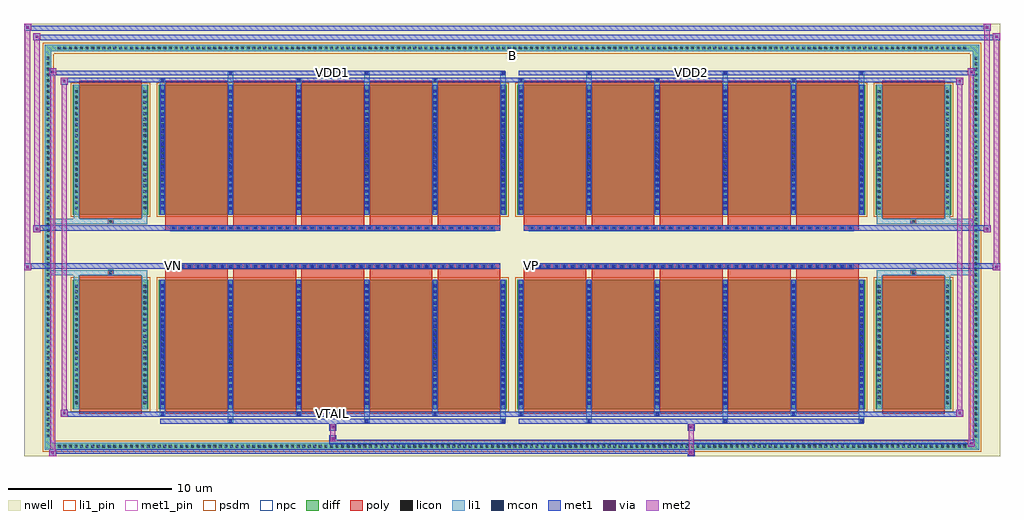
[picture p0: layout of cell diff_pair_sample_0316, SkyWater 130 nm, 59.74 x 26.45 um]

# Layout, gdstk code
import gdstk
lib = gdstk.Library(unit=1e-6, precision=5e-09)
def R(c, l, rs):  # rectangles x0, y0, x1, y1
    for r in rs: c.add(gdstk.rectangle(r[:2], r[2:], *l))
def A(c, l, x, y, w, h, nx, ny, dx, dy):  # array of equal rectangles
    R(c, l, [(x+i*dx, y+j*dy, x+i*dx+w, y+j*dy+h) for i in range(nx) for j in range(ny)])
def P(c, l, *ps):  # polygons
    for p in ps: c.add(gdstk.Polygon(p, *l))
nwell = (64, 20)
diff = (65, 20)
poly = (66, 20)
licon = (66, 44)
li1_pin = (67, 16)
li1 = (67, 20)
mcon = (67, 44)
met1_pin = (68, 16)
met1 = (68, 20)
via = (68, 44)
met2 = (69, 20)
psdm = (94, 20)
npc = (95, 20)

diff_pair_sample_0316 = lib.new_cell('diff_pair_sample_0316')
R(diff_pair_sample_0316, nwell, [(-29.87,-12.79,29.87,13.66), (-27.19,-10.98,-0.01,-0.8), (0.01,-10.98,27.19,-0.8), (-27.19,0.8,-0.01,10.98), (0.01,0.8,27.19,10.98)])
A(diff_pair_sample_0316, diff, -27.915, -12.39, 0.41, 0.41, 164, 2, 0.34, 24.37)
A(diff_pair_sample_0316, diff, -28.6, -11.765, 0.41, 0.41, 1, 69, 0, 0.34)
A(diff_pair_sample_0316, diff, 28.19, -11.765, 0.41, 0.41, 1, 69, 0, 0.34)
R(diff_pair_sample_0316, diff, [(-27.915,-12.39,27.915,-11.98), (-28.6,-11.765,-28.19,11.765), (28.19,-11.765,28.6,11.765), (-26.88,-9.935,-22.26,-1.985), (-21.62,-9.935,-0.32,-1.985), (0.32,-9.935,21.62,-1.985), (22.26,-9.935,26.88,-1.985), (-26.88,1.985,-22.26,9.935), (-21.62,1.985,-0.32,9.935), (0.32,1.985,21.62,9.935), (22.26,1.985,26.88,9.935), (-27.915,11.98,27.915,12.39)])
P(diff_pair_sample_0316, diff, [(28.6,12.39),(-28.6,12.39),(-28.6,-11.98),(-28.19,-11.98),(-28.19,11.98),(28.19,11.98),(28.19,-11.98),(-28.19,-11.98),(-28.6,-11.98),(-28.6,-12.39),(28.6,-12.39)])
A(diff_pair_sample_0316, poly, -21.23, -10.185, 3.84, 8.45, 5, 2, 4.17, 11.92)
A(diff_pair_sample_0316, poly, 0.71, -10.185, 3.84, 8.45, 5, 2, 4.17, 11.92)
A(diff_pair_sample_0316, poly, -21.23, -1.735, 3.84, 0.405, 5, 2, 4.17, 3.065)
A(diff_pair_sample_0316, poly, 0.71, -1.735, 3.84, 0.405, 5, 2, 4.17, 3.065)
A(diff_pair_sample_0316, poly, -20.885, -1.33, 0.33, 0.33, 40, 2, 0.5, 2.33)
A(diff_pair_sample_0316, poly, 1.055, -1.33, 0.33, 0.33, 40, 2, 0.5, 2.33)
R(diff_pair_sample_0316, poly, [(-26.49,-10.185,-22.65,-1.735), (22.65,-10.185,26.49,-1.735), (-24.735,-1.735,-24.405,-1.405), (-24.735,-1.735,-24.405,-1.405), (24.405,-1.735,24.735,-1.405), (24.405,-1.735,24.735,-1.405), (-21.23,-1.33,-0.71,-1), (0.71,-1.33,21.23,-1), (-21.23,1,-0.71,1.33), (0.71,1,21.23,1.33), (-24.735,1.405,-24.405,1.735), (-24.735,1.405,-24.405,1.735), (24.405,1.405,24.735,1.735), (24.405,1.405,24.735,1.735), (-26.49,1.735,-22.65,10.185), (22.65,1.735,26.49,10.185)])
A(diff_pair_sample_0316, licon, -27.795, -12.27, 0.17, 0.17, 164, 2, 0.34, 24.37)
A(diff_pair_sample_0316, licon, -28.48, -11.645, 0.17, 0.17, 1, 69, 0, 0.34)
A(diff_pair_sample_0316, licon, 28.31, -11.645, 0.17, 0.17, 1, 69, 0, 0.34)
A(diff_pair_sample_0316, licon, -26.74, -9.615, 0.17, 0.17, 1, 22, 0, 0.34)
A(diff_pair_sample_0316, licon, -22.57, -9.615, 0.17, 0.17, 1, 22, 0, 0.34)
A(diff_pair_sample_0316, licon, -21.48, -9.615, 0.17, 0.17, 6, 22, 4.17, 0.34)
A(diff_pair_sample_0316, licon, 0.46, -9.615, 0.17, 0.17, 6, 22, 4.17, 0.34)
A(diff_pair_sample_0316, licon, 22.4, -9.615, 0.17, 0.17, 1, 22, 0, 0.34)
A(diff_pair_sample_0316, licon, 26.57, -9.615, 0.17, 0.17, 1, 22, 0, 0.34)
A(diff_pair_sample_0316, licon, -20.805, -1.25, 0.17, 0.17, 40, 2, 0.5, 2.33)
A(diff_pair_sample_0316, licon, 1.135, -1.25, 0.17, 0.17, 40, 2, 0.5, 2.33)
A(diff_pair_sample_0316, licon, -26.74, 2.305, 0.17, 0.17, 1, 22, 0, 0.34)
A(diff_pair_sample_0316, licon, -22.57, 2.305, 0.17, 0.17, 1, 22, 0, 0.34)
A(diff_pair_sample_0316, licon, -21.48, 2.305, 0.17, 0.17, 6, 22, 4.17, 0.34)
A(diff_pair_sample_0316, licon, 0.46, 2.305, 0.17, 0.17, 6, 22, 4.17, 0.34)
A(diff_pair_sample_0316, licon, 22.4, 2.305, 0.17, 0.17, 1, 22, 0, 0.34)
A(diff_pair_sample_0316, licon, 26.57, 2.305, 0.17, 0.17, 1, 22, 0, 0.34)
R(diff_pair_sample_0316, licon, [(-24.655,-1.655,-24.485,-1.485), (24.485,-1.655,24.655,-1.485), (-24.655,1.485,-24.485,1.655), (24.485,1.485,24.655,1.655)])
R(diff_pair_sample_0316, li1_pin, [(-0.25,11.48,0.25,11.98)])
A(diff_pair_sample_0316, li1, -27.875, -12.35, 0.33, 0.33, 164, 2, 0.34, 24.37)
A(diff_pair_sample_0316, li1, -28.56, -11.725, 0.33, 0.33, 1, 69, 0, 0.34)
A(diff_pair_sample_0316, li1, 28.23, -11.725, 0.33, 0.33, 1, 69, 0, 0.34)
A(diff_pair_sample_0316, li1, -17.39, -10.74, 0.33, 0.805, 3, 2, 8.34, 20.675)
A(diff_pair_sample_0316, li1, -17.31, -10.74, 0.17, 0.17, 3, 2, 8.34, 21.31)
A(diff_pair_sample_0316, li1, 4.55, -10.74, 0.33, 0.805, 3, 2, 8.34, 20.675)
A(diff_pair_sample_0316, li1, 4.63, -10.74, 0.17, 0.17, 3, 2, 8.34, 21.31)
A(diff_pair_sample_0316, li1, -21.56, -10.31, 0.33, 0.375, 3, 2, 8.34, 20.245)
A(diff_pair_sample_0316, li1, -21.48, -10.31, 0.17, 0.17, 3, 2, 8.34, 20.45)
A(diff_pair_sample_0316, li1, 0.38, -10.31, 0.33, 0.375, 3, 2, 8.34, 20.245)
A(diff_pair_sample_0316, li1, 0.46, -10.31, 0.17, 0.17, 3, 2, 8.34, 20.45)
A(diff_pair_sample_0316, li1, -21.56, -9.935, 0.33, 7.95, 6, 2, 4.17, 11.92)
A(diff_pair_sample_0316, li1, 0.38, -9.935, 0.33, 7.95, 6, 2, 4.17, 11.92)
A(diff_pair_sample_0316, li1, -26.82, -9.695, 0.33, 0.33, 1, 22, 0, 0.34)
A(diff_pair_sample_0316, li1, -22.65, -9.695, 0.33, 0.33, 1, 22, 0, 0.34)
A(diff_pair_sample_0316, li1, -21.56, -9.695, 0.33, 0.33, 6, 22, 4.17, 0.34)
A(diff_pair_sample_0316, li1, 0.38, -9.695, 0.33, 0.33, 6, 22, 4.17, 0.34)
A(diff_pair_sample_0316, li1, 22.32, -9.695, 0.33, 0.33, 1, 22, 0, 0.34)
A(diff_pair_sample_0316, li1, 26.49, -9.695, 0.33, 0.33, 1, 22, 0, 0.34)
A(diff_pair_sample_0316, li1, -21.48, -9.645, 0.17, 0.17, 6, 21, 4.17, 0.36)
A(diff_pair_sample_0316, li1, -21.48, -9.645, 0.17, 7.37, 6, 2, 4.17, 11.92)
A(diff_pair_sample_0316, li1, 0.46, -9.645, 0.17, 0.17, 6, 21, 4.17, 0.36)
A(diff_pair_sample_0316, li1, 0.46, -9.645, 0.17, 7.37, 6, 2, 4.17, 11.92)
A(diff_pair_sample_0316, li1, -20.885, -1.33, 0.33, 0.33, 40, 2, 0.5, 2.33)
A(diff_pair_sample_0316, li1, 1.055, -1.33, 0.33, 0.33, 40, 2, 0.5, 2.33)
A(diff_pair_sample_0316, li1, -26.82, 2.225, 0.33, 0.33, 1, 22, 0, 0.34)
A(diff_pair_sample_0316, li1, -22.65, 2.225, 0.33, 0.33, 1, 22, 0, 0.34)
A(diff_pair_sample_0316, li1, -21.56, 2.225, 0.33, 0.33, 6, 22, 4.17, 0.34)
A(diff_pair_sample_0316, li1, 0.38, 2.225, 0.33, 0.33, 6, 22, 4.17, 0.34)
A(diff_pair_sample_0316, li1, 22.32, 2.225, 0.33, 0.33, 1, 22, 0, 0.34)
A(diff_pair_sample_0316, li1, 26.49, 2.225, 0.33, 0.33, 1, 22, 0, 0.34)
A(diff_pair_sample_0316, li1, -21.48, 2.275, 0.17, 0.17, 6, 21, 4.17, 0.36)
A(diff_pair_sample_0316, li1, 0.46, 2.275, 0.17, 0.17, 6, 21, 4.17, 0.36)
R(diff_pair_sample_0316, li1, [(-28.6,-12.39,-28.19,-11.98), (-28.6,-12.39,-28.19,-11.98), (-28.19,-12.39,28.19,-11.98), (28.19,-12.39,28.6,-11.98), (28.19,-12.39,28.6,-11.98), (-28.6,-11.98,-28.19,11.98), (28.19,-11.98,28.6,11.98), (-26.82,-9.935,-26.49,-1.985), (-22.65,-9.935,-22.32,-1.985), (22.32,-9.935,22.65,-1.985), (26.49,-9.935,26.82,-1.985), (-26.82,-1.985,-26.49,-1.405), (-22.65,-1.985,-22.32,-1.405), (22.32,-1.985,22.65,-1.405), (26.49,-1.985,26.82,-1.405), (-28.6,-1.735,-24.735,-1.405), (-26.82,-1.735,-24.735,-1.405), (-24.735,-1.735,-24.405,-1.405), (-24.405,-1.735,-22.32,-1.405), (22.32,-1.735,24.405,-1.405), (24.405,-1.735,24.735,-1.405), (24.405,-1.735,28.6,-1.405), (24.735,-1.735,26.82,-1.405), (-28.6,1.405,-24.735,1.735), (-26.82,1.405,-24.735,1.735), (-26.82,1.405,-26.49,1.985), (-24.735,1.405,-24.405,1.735), (-24.405,1.405,-22.32,1.735), (-22.65,1.405,-22.32,1.985), (22.32,1.405,24.405,1.735), (22.32,1.405,22.65,1.985), (24.405,1.405,24.735,1.735), (24.405,1.405,28.6,1.735), (24.735,1.405,26.82,1.735), (26.49,1.405,26.82,1.985), (-26.82,1.985,-26.49,9.935), (-22.65,1.985,-22.32,9.935), (22.32,1.985,22.65,9.935), (26.49,1.985,26.82,9.935), (-28.6,11.98,-28.19,12.39), (-28.6,11.98,-28.19,12.39), (-28.19,11.98,28.19,12.39), (28.19,11.98,28.6,12.39), (28.19,11.98,28.6,12.39)])
A(diff_pair_sample_0316, mcon, -17.31, -10.74, 0.17, 0.17, 3, 2, 8.34, 21.31)
A(diff_pair_sample_0316, mcon, 4.63, -10.74, 0.17, 0.17, 3, 2, 8.34, 21.31)
A(diff_pair_sample_0316, mcon, -21.48, -10.31, 0.17, 0.17, 3, 2, 8.34, 20.45)
A(diff_pair_sample_0316, mcon, 0.46, -10.31, 0.17, 0.17, 3, 2, 8.34, 20.45)
A(diff_pair_sample_0316, mcon, -21.48, -9.645, 0.17, 0.17, 6, 21, 4.17, 0.36)
A(diff_pair_sample_0316, mcon, 0.46, -9.645, 0.17, 0.17, 6, 21, 4.17, 0.36)
A(diff_pair_sample_0316, mcon, -20.805, -1.25, 0.17, 0.17, 40, 2, 0.5, 2.33)
A(diff_pair_sample_0316, mcon, 1.135, -1.25, 0.17, 0.17, 40, 2, 0.5, 2.33)
A(diff_pair_sample_0316, mcon, -21.48, 2.275, 0.17, 0.17, 6, 21, 4.17, 0.36)
A(diff_pair_sample_0316, mcon, 0.46, 2.275, 0.17, 0.17, 6, 21, 4.17, 0.36)
R(diff_pair_sample_0316, met1_pin, [(-11.105,-10.35,-10.835,-10.08), (-20.855,-1.29,-20.585,-1.02), (1.085,-1.29,1.355,-1.02), (-11.105,10.53,-10.835,10.8), (10.835,10.53,11.105,10.8)])
A(diff_pair_sample_0316, met1, -17.37, -10.8, 0.29, 0.29, 3, 2, 8.34, 21.31)
A(diff_pair_sample_0316, met1, 4.57, -10.8, 0.29, 0.29, 3, 2, 8.34, 21.31)
A(diff_pair_sample_0316, met1, -21.54, -10.37, 0.29, 0.29, 3, 2, 8.34, 20.45)
A(diff_pair_sample_0316, met1, 0.4, -10.37, 0.29, 0.29, 3, 2, 8.34, 20.45)
A(diff_pair_sample_0316, met1, -21.54, -9.935, 0.29, 7.95, 6, 2, 4.17, 11.92)
A(diff_pair_sample_0316, met1, 0.4, -9.935, 0.29, 7.95, 6, 2, 4.17, 11.92)
A(diff_pair_sample_0316, met1, -21.54, -9.705, 0.29, 0.29, 6, 21, 4.17, 0.36)
A(diff_pair_sample_0316, met1, 0.4, -9.705, 0.29, 0.29, 6, 21, 4.17, 0.36)
A(diff_pair_sample_0316, met1, -20.865, -1.31, 0.29, 0.29, 40, 2, 0.5, 2.33)
A(diff_pair_sample_0316, met1, 1.075, -1.31, 0.29, 0.29, 40, 2, 0.5, 2.33)
A(diff_pair_sample_0316, met1, -21.54, 2.215, 0.29, 0.29, 6, 21, 4.17, 0.36)
A(diff_pair_sample_0316, met1, 0.4, 2.215, 0.29, 0.29, 6, 21, 4.17, 0.36)
R(diff_pair_sample_0316, met1, [(-28.33,-12.79,-27.9,-12.36), (10.755,-12.79,11.185,-12.36), (-28.33,-12.65,11.185,-12.36), (27.9,-12.22,28.33,-11.79), (-11.185,-12.08,28.33,-11.79), (-11.185,-11.94,-10.755,-11.51), (-11.185,-11.23,-10.755,-10.8), (10.755,-11.23,11.185,-10.8), (-21.54,-10.8,-0.4,-10.51), (0.4,-10.8,21.54,-10.51), (-27.62,-10.37,-27.19,-9.94), (-27.62,-10.37,-21.54,-10.08), (-21.54,-10.37,-0.4,-10.08), (-0.4,-10.37,0.4,-10.08), (0.4,-10.37,21.54,-10.08), (21.54,-10.37,27.62,-10.08), (27.19,-10.37,27.62,-9.94), (-29.87,-1.43,-29.44,-1), (29.44,-1.43,29.87,-1), (-29.87,-1.33,-0.71,-1), (-21.23,-1.33,-0.71,-1), (0.71,-1.33,21.23,-1), (0.71,-1.33,29.87,-1), (-29.3,0.9,-28.87,1.33), (28.87,0.9,29.3,1.33), (-29.3,1,-21.23,1.33), (-21.23,1,-0.71,1.33), (0.71,1,21.23,1.33), (21.23,1,29.3,1.33), (-27.62,9.94,-27.19,10.37), (27.19,9.94,27.62,10.37), (-27.62,10.08,-21.54,10.37), (-21.54,10.08,-0.4,10.37), (-0.4,10.08,0.4,10.37), (0.4,10.08,21.54,10.37), (21.54,10.08,27.62,10.37), (-28.33,10.51,-27.9,10.94), (-28.33,10.51,-21.54,10.8), (-21.54,10.51,-0.4,10.8), (0.4,10.51,21.54,10.8), (21.54,10.51,28.33,10.8), (27.9,10.51,28.33,10.94), (-29.3,12.66,-28.87,13.09), (-29.3,12.66,-27.19,12.99), (-27.19,12.66,27.19,12.99), (27.19,12.66,29.87,12.99), (29.44,12.66,29.87,13.09), (-29.87,13.23,-29.44,13.66), (-29.87,13.23,-27.19,13.56), (-27.19,13.23,27.19,13.56), (27.19,13.23,29.3,13.56), (28.87,13.23,29.3,13.66)])
R(diff_pair_sample_0316, via, [(-28.19,-12.65,-28.04,-12.5), (10.895,-12.65,11.045,-12.5), (28.04,-12.08,28.19,-11.93), (-11.045,-11.8,-10.895,-11.65), (-11.045,-11.09,-10.895,-10.94), (10.895,-11.09,11.045,-10.94), (-27.48,-10.23,-27.33,-10.08), (27.33,-10.23,27.48,-10.08), (-29.73,-1.29,-29.58,-1.14), (29.58,-1.29,29.73,-1.14), (-29.16,1.04,-29.01,1.19), (29.01,1.04,29.16,1.19), (-27.48,10.08,-27.33,10.23), (27.33,10.08,27.48,10.23), (-28.19,10.65,-28.04,10.8), (28.04,10.65,28.19,10.8), (-29.16,12.8,-29.01,12.95), (29.58,12.8,29.73,12.95), (-29.73,13.37,-29.58,13.52), (29.01,13.37,29.16,13.52)])
R(diff_pair_sample_0316, met2, [(-28.33,-12.79,-27.9,-12.36), (-28.26,-12.79,-27.97,10.94), (-27.97,-12.79,-27.9,-12.36), (-28.28,-12.74,-27.95,-12.41), (10.805,-12.74,11.135,-12.41), (10.805,-12.41,11.135,-11.18), (27.9,-12.22,28.33,-11.79), (27.97,-12.22,28.26,10.94), (28.26,-12.22,28.33,-11.79), (27.95,-12.17,28.28,-11.84), (-11.135,-11.89,-10.805,-11.56), (-11.135,-11.56,-10.805,-11.18), (-11.135,-11.18,-10.805,-10.85), (10.805,-11.18,11.135,-10.85), (-27.62,-10.37,-27.19,-9.94), (-27.55,-10.37,-27.26,10.37), (-27.26,-10.37,-27.19,-9.94), (27.19,-10.37,27.62,-9.94), (27.26,-10.37,27.55,10.37), (27.55,-10.37,27.62,-9.94), (-27.57,-10.32,-27.24,-9.99), (27.24,-10.32,27.57,-9.99), (-29.87,-1.43,-29.44,-1), (-29.82,-1.43,-29.49,13.66), (-29.49,-1.43,-29.44,-1), (29.44,-1.43,29.87,-1), (29.49,-1.43,29.82,13.09), (29.82,-1.43,29.87,-1), (-29.82,-1.38,-29.49,-1.05), (29.49,-1.38,29.82,-1.05), (-29.3,0.9,-28.87,1.33), (-29.25,0.9,-28.92,13.09), (-28.92,0.9,-28.87,1.33), (28.87,0.9,29.3,1.33), (28.92,0.9,29.25,13.66), (29.25,0.9,29.3,1.33), (-29.25,0.95,-28.92,1.28), (28.92,0.95,29.25,1.28), (-27.62,9.94,-27.19,10.37), (-27.26,9.94,-27.19,10.37), (27.19,9.94,27.62,10.37), (27.55,9.94,27.62,10.37), (-27.57,9.99,-27.24,10.32), (27.24,9.99,27.57,10.32), (-28.33,10.51,-27.9,10.94), (-27.97,10.51,-27.9,10.94), (27.9,10.51,28.33,10.94), (28.26,10.51,28.33,10.94), (-28.28,10.56,-27.95,10.89), (27.95,10.56,28.28,10.89), (-29.3,12.66,-28.87,13.09), (-28.92,12.66,-28.87,13.09), (29.44,12.66,29.87,13.09), (29.82,12.66,29.87,13.09), (-29.25,12.71,-28.92,13.04), (29.49,12.71,29.82,13.04), (-29.87,13.23,-29.44,13.66), (-29.49,13.23,-29.44,13.66), (28.87,13.23,29.3,13.66), (29.25,13.23,29.3,13.66), (-29.82,13.28,-29.49,13.61), (28.92,13.28,29.25,13.61)])
R(diff_pair_sample_0316, psdm, [(-27.01,-10.065,-22.13,-1.855), (-21.75,-10.065,-0.19,-1.855), (0.19,-10.065,21.75,-1.855), (22.13,-10.065,27.01,-1.855), (-27.01,1.855,-22.13,10.065), (-21.75,1.855,-0.19,10.065), (0.19,1.855,21.75,10.065), (22.13,1.855,27.01,10.065)])
P(diff_pair_sample_0316, psdm, [(28.73,12.52),(-28.73,12.52),(-28.73,-11.85),(-28.06,-11.85),(-28.06,11.85),(28.06,11.85),(28.06,-11.85),(-28.06,-11.85),(-28.73,-11.85),(-28.73,-12.52),(28.73,-12.52)])
A(diff_pair_sample_0316, npc, -20.905, -1.35, 0.37, 0.37, 40, 2, 0.5, 2.33)
A(diff_pair_sample_0316, npc, 1.035, -1.35, 0.37, 0.37, 40, 2, 0.5, 2.33)
R(diff_pair_sample_0316, npc, [(-24.755,-1.755,-24.385,-1.385), (24.385,-1.755,24.755,-1.385), (-20.905,-1.35,-20.035,-0.98), (-20.905,-1.35,-20.035,-0.98), (-20.405,-1.35,-19.535,-0.98), (-20.405,-1.35,-19.535,-0.98), (-19.905,-1.35,-19.035,-0.98), (-19.905,-1.35,-19.035,-0.98), (-19.405,-1.35,-18.535,-0.98), (-19.405,-1.35,-18.535,-0.98), (-18.905,-1.35,-18.035,-0.98), (-18.905,-1.35,-18.035,-0.98), (-18.405,-1.35,-17.535,-0.98), (-18.405,-1.35,-17.535,-0.98), (-17.905,-1.35,-17.035,-0.98), (-17.905,-1.35,-17.035,-0.98), (-17.405,-1.35,-16.535,-0.98), (-17.405,-1.35,-16.535,-0.98), (-16.905,-1.35,-16.035,-0.98), (-16.905,-1.35,-16.035,-0.98), (-16.405,-1.35,-15.535,-0.98), (-16.405,-1.35,-15.535,-0.98), (-15.905,-1.35,-15.035,-0.98), (-15.905,-1.35,-15.035,-0.98), (-15.405,-1.35,-14.535,-0.98), (-15.405,-1.35,-14.535,-0.98), (-14.905,-1.35,-14.035,-0.98), (-14.905,-1.35,-14.035,-0.98), (-14.405,-1.35,-13.535,-0.98), (-14.405,-1.35,-13.535,-0.98), (-13.905,-1.35,-13.035,-0.98), (-13.905,-1.35,-13.035,-0.98), (-13.405,-1.35,-12.535,-0.98), (-13.405,-1.35,-12.535,-0.98), (-12.905,-1.35,-12.035,-0.98), (-12.905,-1.35,-12.035,-0.98), (-12.405,-1.35,-11.535,-0.98), (-12.405,-1.35,-11.535,-0.98), (-11.905,-1.35,-11.035,-0.98), (-11.905,-1.35,-11.035,-0.98), (-11.405,-1.35,-10.535,-0.98), (-11.405,-1.35,-10.535,-0.98), (-10.905,-1.35,-10.035,-0.98), (-10.905,-1.35,-10.035,-0.98), (-10.405,-1.35,-9.535,-0.98), (-10.405,-1.35,-9.535,-0.98), (-9.905,-1.35,-9.035,-0.98), (-9.905,-1.35,-9.035,-0.98), (-9.405,-1.35,-8.535,-0.98), (-9.405,-1.35,-8.535,-0.98), (-8.905,-1.35,-8.035,-0.98), (-8.905,-1.35,-8.035,-0.98), (-8.405,-1.35,-7.535,-0.98), (-8.405,-1.35,-7.535,-0.98), (-7.905,-1.35,-7.035,-0.98), (-7.905,-1.35,-7.035,-0.98), (-7.405,-1.35,-6.535,-0.98), (-7.405,-1.35,-6.535,-0.98), (-6.905,-1.35,-6.035,-0.98), (-6.905,-1.35,-6.035,-0.98), (-6.405,-1.35,-5.535,-0.98), (-6.405,-1.35,-5.535,-0.98), (-5.905,-1.35,-5.035,-0.98), (-5.905,-1.35,-5.035,-0.98), (-5.405,-1.35,-4.535,-0.98), (-5.405,-1.35,-4.535,-0.98), (-4.905,-1.35,-4.035,-0.98), (-4.905,-1.35,-4.035,-0.98), (-4.405,-1.35,-3.535,-0.98), (-4.405,-1.35,-3.535,-0.98), (-3.905,-1.35,-3.035,-0.98), (-3.905,-1.35,-3.035,-0.98), (-3.405,-1.35,-2.535,-0.98), (-3.405,-1.35,-2.535,-0.98), (-2.905,-1.35,-2.035,-0.98), (-2.905,-1.35,-2.035,-0.98), (-2.405,-1.35,-1.535,-0.98), (-2.405,-1.35,-1.535,-0.98), (-1.905,-1.35,-1.035,-0.98), (-1.905,-1.35,-1.035,-0.98), (1.035,-1.35,1.905,-0.98), (1.035,-1.35,1.905,-0.98), (1.535,-1.35,2.405,-0.98), (1.535,-1.35,2.405,-0.98), (2.035,-1.35,2.905,-0.98), (2.035,-1.35,2.905,-0.98), (2.535,-1.35,3.405,-0.98), (2.535,-1.35,3.405,-0.98), (3.035,-1.35,3.905,-0.98), (3.035,-1.35,3.905,-0.98), (3.535,-1.35,4.405,-0.98), (3.535,-1.35,4.405,-0.98), (4.035,-1.35,4.905,-0.98), (4.035,-1.35,4.905,-0.98), (4.535,-1.35,5.405,-0.98), (4.535,-1.35,5.405,-0.98), (5.035,-1.35,5.905,-0.98), (5.035,-1.35,5.905,-0.98), (5.535,-1.35,6.405,-0.98), (5.535,-1.35,6.405,-0.98), (6.035,-1.35,6.905,-0.98), (6.035,-1.35,6.905,-0.98), (6.535,-1.35,7.405,-0.98), (6.535,-1.35,7.405,-0.98), (7.035,-1.35,7.905,-0.98), (7.035,-1.35,7.905,-0.98), (7.535,-1.35,8.405,-0.98), (7.535,-1.35,8.405,-0.98), (8.035,-1.35,8.905,-0.98), (8.035,-1.35,8.905,-0.98), (8.535,-1.35,9.405,-0.98), (8.535,-1.35,9.405,-0.98), (9.035,-1.35,9.905,-0.98), (9.035,-1.35,9.905,-0.98), (9.535,-1.35,10.405,-0.98), (9.535,-1.35,10.405,-0.98), (10.035,-1.35,10.905,-0.98), (10.035,-1.35,10.905,-0.98), (10.535,-1.35,11.405,-0.98), (10.535,-1.35,11.405,-0.98), (11.035,-1.35,11.905,-0.98), (11.035,-1.35,11.905,-0.98), (11.535,-1.35,12.405,-0.98), (11.535,-1.35,12.405,-0.98), (12.035,-1.35,12.905,-0.98), (12.035,-1.35,12.905,-0.98), (12.535,-1.35,13.405,-0.98), (12.535,-1.35,13.405,-0.98), (13.035,-1.35,13.905,-0.98), (13.035,-1.35,13.905,-0.98), (13.535,-1.35,14.405,-0.98), (13.535,-1.35,14.405,-0.98), (14.035,-1.35,14.905,-0.98), (14.035,-1.35,14.905,-0.98), (14.535,-1.35,15.405,-0.98), (14.535,-1.35,15.405,-0.98), (15.035,-1.35,15.905,-0.98), (15.035,-1.35,15.905,-0.98), (15.535,-1.35,16.405,-0.98), (15.535,-1.35,16.405,-0.98), (16.035,-1.35,16.905,-0.98), (16.035,-1.35,16.905,-0.98), (16.535,-1.35,17.405,-0.98), (16.535,-1.35,17.405,-0.98), (17.035,-1.35,17.905,-0.98), (17.035,-1.35,17.905,-0.98), (17.535,-1.35,18.405,-0.98), (17.535,-1.35,18.405,-0.98), (18.035,-1.35,18.905,-0.98), (18.035,-1.35,18.905,-0.98), (18.535,-1.35,19.405,-0.98), (18.535,-1.35,19.405,-0.98), (19.035,-1.35,19.905,-0.98), (19.035,-1.35,19.905,-0.98), (19.535,-1.35,20.405,-0.98), (19.535,-1.35,20.405,-0.98), (20.035,-1.35,20.905,-0.98), (20.035,-1.35,20.905,-0.98), (-20.905,0.98,-20.035,1.35), (-20.905,0.98,-20.035,1.35), (-20.405,0.98,-19.535,1.35), (-20.405,0.98,-19.535,1.35), (-19.905,0.98,-19.035,1.35), (-19.905,0.98,-19.035,1.35), (-19.405,0.98,-18.535,1.35), (-19.405,0.98,-18.535,1.35), (-18.905,0.98,-18.035,1.35), (-18.905,0.98,-18.035,1.35), (-18.405,0.98,-17.535,1.35), (-18.405,0.98,-17.535,1.35), (-17.905,0.98,-17.035,1.35), (-17.905,0.98,-17.035,1.35), (-17.405,0.98,-16.535,1.35), (-17.405,0.98,-16.535,1.35), (-16.905,0.98,-16.035,1.35), (-16.905,0.98,-16.035,1.35), (-16.405,0.98,-15.535,1.35), (-16.405,0.98,-15.535,1.35), (-15.905,0.98,-15.035,1.35), (-15.905,0.98,-15.035,1.35), (-15.405,0.98,-14.535,1.35), (-15.405,0.98,-14.535,1.35), (-14.905,0.98,-14.035,1.35), (-14.905,0.98,-14.035,1.35), (-14.405,0.98,-13.535,1.35), (-14.405,0.98,-13.535,1.35), (-13.905,0.98,-13.035,1.35), (-13.905,0.98,-13.035,1.35), (-13.405,0.98,-12.535,1.35), (-13.405,0.98,-12.535,1.35), (-12.905,0.98,-12.035,1.35), (-12.905,0.98,-12.035,1.35), (-12.405,0.98,-11.535,1.35), (-12.405,0.98,-11.535,1.35), (-11.905,0.98,-11.035,1.35), (-11.905,0.98,-11.035,1.35), (-11.405,0.98,-10.535,1.35), (-11.405,0.98,-10.535,1.35), (-10.905,0.98,-10.035,1.35), (-10.905,0.98,-10.035,1.35), (-10.405,0.98,-9.535,1.35), (-10.405,0.98,-9.535,1.35), (-9.905,0.98,-9.035,1.35), (-9.905,0.98,-9.035,1.35), (-9.405,0.98,-8.535,1.35), (-9.405,0.98,-8.535,1.35), (-8.905,0.98,-8.035,1.35), (-8.905,0.98,-8.035,1.35), (-8.405,0.98,-7.535,1.35), (-8.405,0.98,-7.535,1.35), (-7.905,0.98,-7.035,1.35), (-7.905,0.98,-7.035,1.35), (-7.405,0.98,-6.535,1.35), (-7.405,0.98,-6.535,1.35), (-6.905,0.98,-6.035,1.35), (-6.905,0.98,-6.035,1.35), (-6.405,0.98,-5.535,1.35), (-6.405,0.98,-5.535,1.35), (-5.905,0.98,-5.035,1.35), (-5.905,0.98,-5.035,1.35), (-5.405,0.98,-4.535,1.35), (-5.405,0.98,-4.535,1.35), (-4.905,0.98,-4.035,1.35), (-4.905,0.98,-4.035,1.35), (-4.405,0.98,-3.535,1.35), (-4.405,0.98,-3.535,1.35), (-3.905,0.98,-3.035,1.35), (-3.905,0.98,-3.035,1.35), (-3.405,0.98,-2.535,1.35), (-3.405,0.98,-2.535,1.35), (-2.905,0.98,-2.035,1.35), (-2.905,0.98,-2.035,1.35), (-2.405,0.98,-1.535,1.35), (-2.405,0.98,-1.535,1.35), (-1.905,0.98,-1.035,1.35), (-1.905,0.98,-1.035,1.35), (1.035,0.98,1.905,1.35), (1.035,0.98,1.905,1.35), (1.535,0.98,2.405,1.35), (1.535,0.98,2.405,1.35), (2.035,0.98,2.905,1.35), (2.035,0.98,2.905,1.35), (2.535,0.98,3.405,1.35), (2.535,0.98,3.405,1.35), (3.035,0.98,3.905,1.35), (3.035,0.98,3.905,1.35), (3.535,0.98,4.405,1.35), (3.535,0.98,4.405,1.35), (4.035,0.98,4.905,1.35), (4.035,0.98,4.905,1.35), (4.535,0.98,5.405,1.35), (4.535,0.98,5.405,1.35), (5.035,0.98,5.905,1.35), (5.035,0.98,5.905,1.35), (5.535,0.98,6.405,1.35), (5.535,0.98,6.405,1.35), (6.035,0.98,6.905,1.35), (6.035,0.98,6.905,1.35), (6.535,0.98,7.405,1.35), (6.535,0.98,7.405,1.35), (7.035,0.98,7.905,1.35), (7.035,0.98,7.905,1.35), (7.535,0.98,8.405,1.35), (7.535,0.98,8.405,1.35), (8.035,0.98,8.905,1.35), (8.035,0.98,8.905,1.35), (8.535,0.98,9.405,1.35), (8.535,0.98,9.405,1.35), (9.035,0.98,9.905,1.35), (9.035,0.98,9.905,1.35), (9.535,0.98,10.405,1.35), (9.535,0.98,10.405,1.35), (10.035,0.98,10.905,1.35), (10.035,0.98,10.905,1.35), (10.535,0.98,11.405,1.35), (10.535,0.98,11.405,1.35), (11.035,0.98,11.905,1.35), (11.035,0.98,11.905,1.35), (11.535,0.98,12.405,1.35), (11.535,0.98,12.405,1.35), (12.035,0.98,12.905,1.35), (12.035,0.98,12.905,1.35), (12.535,0.98,13.405,1.35), (12.535,0.98,13.405,1.35), (13.035,0.98,13.905,1.35), (13.035,0.98,13.905,1.35), (13.535,0.98,14.405,1.35), (13.535,0.98,14.405,1.35), (14.035,0.98,14.905,1.35), (14.035,0.98,14.905,1.35), (14.535,0.98,15.405,1.35), (14.535,0.98,15.405,1.35), (15.035,0.98,15.905,1.35), (15.035,0.98,15.905,1.35), (15.535,0.98,16.405,1.35), (15.535,0.98,16.405,1.35), (16.035,0.98,16.905,1.35), (16.035,0.98,16.905,1.35), (16.535,0.98,17.405,1.35), (16.535,0.98,17.405,1.35), (17.035,0.98,17.905,1.35), (17.035,0.98,17.905,1.35), (17.535,0.98,18.405,1.35), (17.535,0.98,18.405,1.35), (18.035,0.98,18.905,1.35), (18.035,0.98,18.905,1.35), (18.535,0.98,19.405,1.35), (18.535,0.98,19.405,1.35), (19.035,0.98,19.905,1.35), (19.035,0.98,19.905,1.35), (19.535,0.98,20.405,1.35), (19.535,0.98,20.405,1.35), (20.035,0.98,20.905,1.35), (20.035,0.98,20.905,1.35), (-24.755,1.385,-24.385,1.755), (24.385,1.385,24.755,1.755)])
diff_pair_sample_0316.add(gdstk.Label('VTAIL', (-10.97,-10.215), layer=68, texttype=5))
diff_pair_sample_0316.add(gdstk.Label('VN', (-20.72,-1.155), layer=68, texttype=5))
diff_pair_sample_0316.add(gdstk.Label('VP', (1.22,-1.155), layer=68, texttype=5))
diff_pair_sample_0316.add(gdstk.Label('B', (0,11.73), layer=67, texttype=5))
diff_pair_sample_0316.add(gdstk.Label('VDD2', (10.97,10.665), layer=68, texttype=5))
diff_pair_sample_0316.add(gdstk.Label('VDD1', (-10.97,10.665), layer=68, texttype=5))

lib.write_gds('diff_pair_sample_0316.gds')
